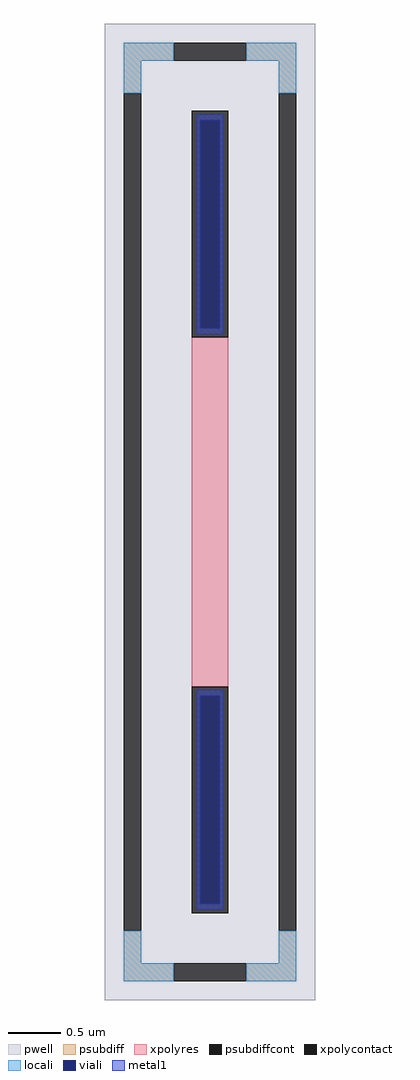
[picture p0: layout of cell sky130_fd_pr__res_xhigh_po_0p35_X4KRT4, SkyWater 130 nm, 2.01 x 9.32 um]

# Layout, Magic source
magic
tech sky130A
magscale 1 2
<< pwell >>
rect -201 -932 201 932
<< psubdiff >>
rect -165 862 -69 896
rect 69 862 165 896
rect -165 800 -131 862
rect 131 800 165 862
rect -165 -862 -131 -800
rect 131 -862 165 -800
rect -165 -896 -69 -862
rect 69 -896 165 -862
<< psubdiffcont >>
rect -69 862 69 896
rect -165 -800 -131 800
rect 131 -800 165 800
rect -69 -896 69 -862
<< xpolycontact >>
rect -35 334 35 766
rect -35 -766 35 -334
<< xpolyres >>
rect -35 -334 35 334
<< locali >>
rect -165 862 -69 896
rect 69 862 165 896
rect -165 800 -131 862
rect 131 800 165 862
rect -165 -862 -131 -800
rect 131 -862 165 -800
rect -165 -896 -69 -862
rect 69 -896 165 -862
<< viali >>
rect -19 351 19 748
rect -19 -748 19 -351
<< metal1 >>
rect -25 748 25 760
rect -25 351 -19 748
rect 19 351 25 748
rect -25 339 25 351
rect -25 -351 25 -339
rect -25 -748 -19 -351
rect 19 -748 25 -351
rect -25 -760 25 -748
<< properties >>
string FIXED_BBOX -148 -879 148 879
string gencell sky130_fd_pr__res_xhigh_po_0p35
string library sky130
string parameters w 0.350 l 3.5 m 1 nx 1 wmin 0.350 lmin 0.50 rho 2000 val 21.075k dummy 0 dw 0.0 term 188.2 sterm 0.0 caplen 0 wmax 0.350 guard 1 glc 1 grc 1 gtc 1 gbc 1 compatible {sky130_fd_pr__res_xhigh_po_0p35  sky130_fd_pr__res_xhigh_po_0p69 sky130_fd_pr__res_xhigh_po_1p41  sky130_fd_pr__res_xhigh_po_2p85 sky130_fd_pr__res_xhigh_po_5p73} snake 0 full_metal 1 n_guard 0 hv_guard 0 vias 1 viagb 0 viagt 0 viagl 0 viagr 0
<< end >>
